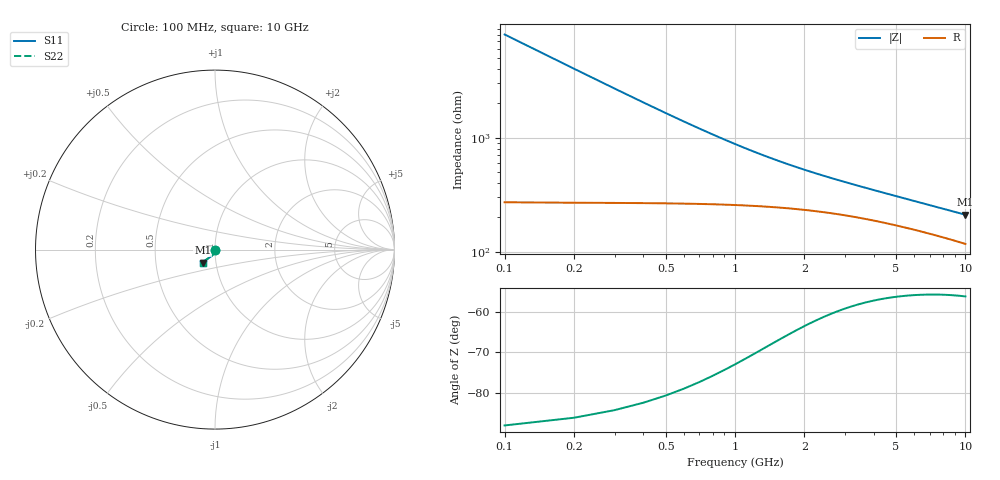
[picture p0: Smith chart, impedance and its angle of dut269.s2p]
! Touchstone file exported from HFSS 2024.1.0
!  File:  C:/UserFiles/LocalFiles/RDL_TSV_Batchsim/temp_TSV1_269_1778769818.aedt
!  Generated:  10:47:55 PM May 14, 2026
!  Design:  TSV1
!  Project:  temp_TSV1_269_1778769818
!  Setup:  Setup1
!  Solution:  Sweep
! Variables:
!  dtsv = 25.74um
!  hbump = 3um
!  htsv = 63.44um
!  lrdl = 252.1521522um
!  p = 40
!  p1 = 55.37um
!  t = 500um
!  trdl = 3um
!  wrdl = 24.89489489um
# GHz S MA R 50.000000
! Terminal data exported
! Port[1] = TSV22_T1
! Port[2] = TSV22_T2
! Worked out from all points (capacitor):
!   100 points, 100 MHz to 10 GHz, reference 50 ohm
!   read as one part in shunt: C = 199 fF near 100 MHz
!   lowest |Z| = 211 ohm at 10 GHz (marker M1)
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0.1  0.002906 -90.8  0.9998 -0.2  0.9998 -0.2  0.002906 -90.8
! Gamma 0 0 0 0
! Port Impedance 50 0 50 0
0.2  0.005792 -93.5  0.9995 -0.4  0.9995 -0.4  0.005792 -93.5
0.3  0.008641 -95.8  0.9989 -0.6  0.9989 -0.6  0.008641 -95.8
0.4  0.01144 -97.9  0.9981 -0.7  0.9981 -0.7  0.01144 -97.9
0.5  0.01416 -100.0  0.9972 -0.9  0.9972 -0.9  0.01416 -100.0
0.6  0.01681 -101.9  0.9962 -1.1  0.9962 -1.1  0.01681 -101.9
0.7  0.01936 -103.8  0.995 -1.2  0.995 -1.2  0.01936 -103.8
0.8  0.02182 -105.5  0.9937 -1.4  0.9937 -1.4  0.02182 -105.5
0.9  0.02418 -107.2  0.9924 -1.5  0.9924 -1.5  0.02418 -107.2
1.1  0.02858 -110.3  0.9896 -1.8  0.9896 -1.8  0.02858 -110.3
1.4  0.03442 -114.3  0.9855 -2.1  0.9855 -2.1  0.03442 -114.3
1.6  0.03786 -116.5  0.9829 -2.3  0.9829 -2.3  0.03786 -116.5
1.8  0.04098 -118.4  0.9804 -2.4  0.9804 -2.4  0.04098 -118.4
2.1  0.04517 -120.9  0.9769 -2.6  0.9769 -2.6  0.04517 -120.9
2.5  0.05004 -123.4  0.9727 -2.9  0.9727 -2.9  0.05004 -123.4
2.9  0.0543 -125.3  0.969 -3.1  0.969 -3.1  0.0543 -125.3
3.4  0.05905 -127.0  0.9649 -3.4  0.9649 -3.4  0.05905 -127.0
4.2  0.06572 -129.0  0.9593 -3.8  0.9593 -3.8  0.06572 -129.0
5.1  0.07232 -130.4  0.9541 -4.2  0.9541 -4.2  0.07232 -130.4
6.7  0.08249 -132.0  0.9463 -4.8  0.9463 -4.8  0.08249 -132.0
8.4  0.09179 -132.9  0.9396 -5.5  0.9396 -5.5  0.09179 -132.9
10  0.0996 -133.4  0.9343 -6.1  0.9343 -6.1  0.0996 -133.4
